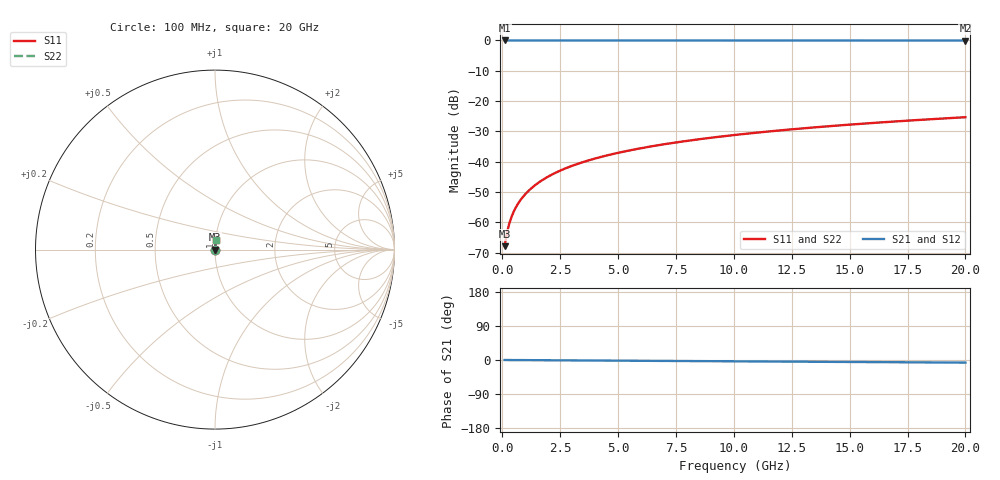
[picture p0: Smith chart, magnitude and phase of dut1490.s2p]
! Touchstone file exported from HFSS 2026.1.0
!  File:  C:/ffzhzh/LocalFiles/Ansys_Project_Files/temp_train_TSV_1490_1783198786_55132.aedt
!  Generated:  05:01:26 AM Jul  5, 2026
!  Design:  TSV
!  Project:  temp_train_TSV_1490_1783198786_55132
! Variables:
!  h_bsmrdl = 2um
!  h_ox = 20um
!  h_rdl = 5um
!  h_sub = 57.1um
!  h_tmrdl = 5um
!  h_tsv = 57.1um
!  h_via = 3um
!  l_bsmrdl = 300um
!  l_sub = 410.6um
!  l_tmrdl = 200um
!  m_sub = 200um
!  pitch = 41.87um
!  r_tsv = 5.3um
!  s_tmrdl = 10um
!  w_bsmrdl = 18um
!  w_sub = 500um
!  w_tmrdl = 12um
!  x_tsv_center1 = 206um
!  x_tsv_center2 = 524um
!  x_tsv_center3 = 736um
!  x_tsv_center4 = 1054um
!  x_tsv_center5 = 1266um
!  x_tsv_center6 = 1584um
# GHz S MA R 50.000000
! Terminal data exported
! Port[1] = TSV1_1_T1
! Port[2] = TSV1_1_T2
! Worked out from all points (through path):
!   200 points, 100 MHz to 20 GHz, reference 50 ohm
!   highest |S21| = 0.00 dB at 100 MHz (marker M1); lowest = 0.0 dB at 20 GHz (marker M2)
!   lowest |S11| = -67.8 dB at 100 MHz (marker M3), VSWR 1.00, Z = 50 + j0.0307 ohm
!   |S11| at or under -10 dB: start of sweep to end of sweep
!   |S22| runs from -67.8 to -25.3 dB; largest |S21 - S12| = 5.2e-15
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0.1  0.0004069 48.9  0.9997 -0.0  0.9997 -0.0  0.0004069 48.9
! Gamma 0 0 0 0
! Port Impedance 50 0 50 0
0.2  0.0006704 65.5  0.9997 -0.1  0.9997 -0.1  0.0006704 65.5
0.3  0.0009551 72.2  0.9997 -0.1  0.9997 -0.1  0.0009551 72.2
0.4  0.001243 75.6  0.9997 -0.1  0.9997 -0.1  0.001243 75.6
0.5  0.00153 77.7  0.9997 -0.2  0.9997 -0.2  0.00153 77.7
0.7  0.002098 80.2  0.9996 -0.3  0.9996 -0.3  0.002098 80.2
0.8  0.002381 81.0  0.9996 -0.3  0.9996 -0.3  0.002381 81.0
1  0.002945 82.2  0.9996 -0.4  0.9996 -0.4  0.002945 82.2
1.2  0.003509 83.0  0.9996 -0.4  0.9996 -0.4  0.003509 83.0
1.4  0.004072 83.6  0.9996 -0.5  0.9996 -0.5  0.004072 83.6
1.7  0.004915 84.2  0.9995 -0.6  0.9995 -0.6  0.004915 84.2
2  0.005758 84.6  0.9995 -0.7  0.9995 -0.7  0.005758 84.6
2.7  0.007715 85.0  0.9994 -1.0  0.9994 -1.0  0.007715 85.0
3.5  0.009936 85.2  0.9993 -1.2  0.9993 -1.2  0.009936 85.2
4.2  0.01186 85.2  0.9992 -1.5  0.9992 -1.5  0.01186 85.2
5  0.01406 85.2  0.9991 -1.8  0.9991 -1.8  0.01406 85.2
6.8  0.01895 84.9  0.9989 -2.4  0.9989 -2.4  0.01895 84.9
8.3  0.023 84.6  0.9987 -2.9  0.9987 -2.9  0.023 84.6
10.1  0.02785 84.2  0.9985 -3.5  0.9985 -3.5  0.02785 84.2
13.4  0.03672 83.4  0.9981 -4.6  0.9981 -4.6  0.03672 83.4
16.7  0.04554 82.5  0.9976 -5.8  0.9976 -5.8  0.04554 82.5
20  0.0543 81.5  0.997 -6.9  0.997 -6.9  0.0543 81.5
